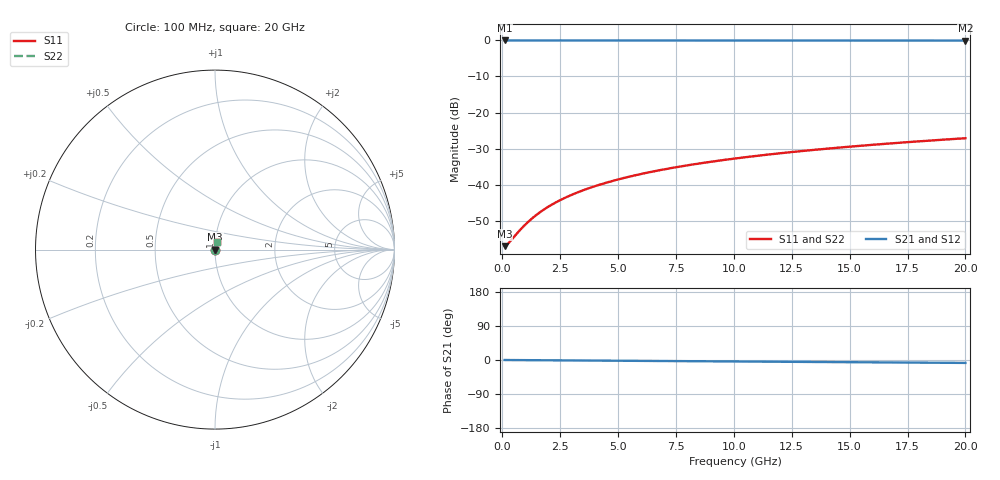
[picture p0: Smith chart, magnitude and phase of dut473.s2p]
! Touchstone file exported from HFSS 2026.1.0
!  File:  C:/ffzhzh/LocalFiles/Ansys_Project_Files/temp_train_TSV_473_1783022358_4048.aedt
!  Generated:  04:01:46 AM Jul  3, 2026
!  Design:  TSV
!  Project:  temp_train_TSV_473_1783022358_4048
! Variables:
!  h_bsmrdl = 2um
!  h_ox = 20um
!  h_rdl = 5um
!  h_sub = 78.13um
!  h_tmrdl = 5um
!  h_tsv = 78.13um
!  h_via = 3um
!  l_bsmrdl = 300um
!  l_sub = 405.12um
!  l_tmrdl = 200um
!  m_sub = 200um
!  pitch = 17.28um
!  r_tsv = 2.56um
!  s_tmrdl = 10um
!  w_bsmrdl = 18um
!  w_sub = 500um
!  w_tmrdl = 12um
!  x_tsv_center1 = 206um
!  x_tsv_center2 = 524um
!  x_tsv_center3 = 736um
!  x_tsv_center4 = 1054um
!  x_tsv_center5 = 1266um
!  x_tsv_center6 = 1584um
# GHz S MA R 50.000000
! Terminal data exported
! Port[1] = TSV1_1_T1
! Port[2] = TSV1_1_T2
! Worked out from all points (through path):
!   200 points, 100 MHz to 20 GHz, reference 50 ohm
!   highest |S21| = -0.01 dB at 100 MHz (marker M1); lowest = 0.0 dB at 20 GHz (marker M2)
!   group delay of S21, straight-line fit = 1.07 ps
!   lowest |S11| = -57.0 dB at 100 MHz (marker M3), VSWR 1.00, Z = 50.1 + j0.0251 ohm
!   |S11| at or under -10 dB: start of sweep to end of sweep
!   |S22| runs from -57.0 to -27.1 dB; largest |S21 - S12| = 4.3e-15
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0.1  0.001405 10.3  0.9986 -0.0  0.9986 -0.0  0.001405 10.3
! Gamma 0 0 0 0
! Port Impedance 50 0 50 0
0.2  0.001478 19.7  0.9986 -0.1  0.9986 -0.1  0.001478 19.7
0.3  0.001587 27.9  0.9986 -0.1  0.9986 -0.1  0.001587 27.9
0.7  0.00223 49.4  0.9986 -0.3  0.9986 -0.3  0.00223 49.4
1  0.002814 58.2  0.9985 -0.4  0.9985 -0.4  0.002814 58.2
1.3  0.003439 63.9  0.9985 -0.5  0.9985 -0.5  0.003439 63.9
1.6  0.004089 67.7  0.9985 -0.6  0.9985 -0.6  0.004089 67.7
2  0.004977 71.3  0.9985 -0.8  0.9985 -0.8  0.004977 71.3
2.5  0.006107 74.1  0.9984 -1.0  0.9984 -1.0  0.006107 74.1
3  0.007247 75.9  0.9984 -1.2  0.9984 -1.2  0.007247 75.9
3.5  0.008391 77.2  0.9983 -1.4  0.9983 -1.4  0.008391 77.2
4.2  0.009994 78.3  0.9982 -1.7  0.9982 -1.7  0.009994 78.3
5  0.01182 79.1  0.9981 -2.0  0.9981 -2.0  0.01182 79.1
5.9  0.01386 79.5  0.9979 -2.3  0.9979 -2.3  0.01386 79.5
6.8  0.01589 79.7  0.9978 -2.7  0.9978 -2.7  0.01589 79.7
8.3  0.01923 79.8  0.9975 -3.2  0.9975 -3.2  0.01923 79.8
10.1  0.02318 79.6  0.9971 -3.9  0.9971 -3.9  0.02318 79.6
11.7  0.02663 79.3  0.9968 -4.5  0.9968 -4.5  0.02663 79.3
13.4  0.03026 78.9  0.9964 -5.2  0.9964 -5.2  0.03026 78.9
15  0.03365 78.5  0.9961 -5.8  0.9961 -5.8  0.03365 78.5
16.7  0.03721 78.1  0.9958 -6.4  0.9958 -6.4  0.03721 78.1
20  0.04407 77.2  0.9951 -7.7  0.9951 -7.7  0.04407 77.2
